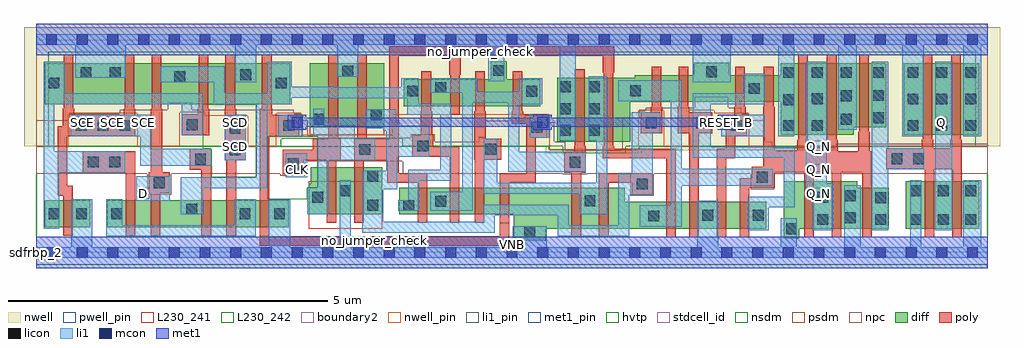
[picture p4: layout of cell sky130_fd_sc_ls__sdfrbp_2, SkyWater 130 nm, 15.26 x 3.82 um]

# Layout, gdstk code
import gdstk
lib = gdstk.Library(unit=1e-6, precision=1e-09)
def R(c, l, rs):  # rectangles x0, y0, x1, y1
    for r in rs: c.add(gdstk.rectangle(r[:2], r[2:], *l))
def A(c, l, x, y, w, h, nx, ny, dx, dy):  # array of equal rectangles
    R(c, l, [(x+i*dx, y+j*dy, x+i*dx+w, y+j*dy+h) for i in range(nx) for j in range(ny)])
def P(c, l, *ps):  # polygons
    for p in ps: c.add(gdstk.Polygon(p, *l))
nwell_pin = (64, 16)
nwell = (64, 20)
diff = (65, 20)
poly = (66, 20)
licon = (66, 44)
li1_pin = (67, 16)
li1 = (67, 20)
mcon = (67, 44)
met1_pin = (68, 16)
met1 = (68, 20)
hvtp = (78, 44)
stdcell_id = (81, 4)
nsdm = (93, 44)
psdm = (94, 20)
npc = (95, 20)
pwell_pin = (122, 16)
L230_241 = (230, 241)
L230_242 = (230, 242)
boundary2 = (236, 0)

sky130_fd_sc_ls__sdfrbp_ = lib.new_cell('sky130_fd_sc_ls__sdfrbp_2')
R(sky130_fd_sc_ls__sdfrbp_, nwell_pin, [(0,3.085,14.88,3.33)])
P(sky130_fd_sc_ls__sdfrbp_, nwell, [(15.07,3.52),(-0.19,3.52),(-0.19,1.66),(3.83,1.66),(3.83,1.78),(5.725,1.78),(5.725,1.66),(7.97,1.66),(7.97,1.555),(9.47,1.555),(9.47,1.595),(12.54,1.595),(12.54,1.66),(15.07,1.66)])
R(sky130_fd_sc_ls__sdfrbp_, diff, [(13.6,0.37,14.745,1.11), (0.135,0.395,0.845,0.815), (1.115,0.395,3.95,0.815), (13.565,1.84,14.745,2.96), (4.275,1.96,5.445,2.96), (0.135,2.32,3.975,2.96)])
P(sky130_fd_sc_ls__sdfrbp_, diff, [(13.33,1.01),(12.84,1.01),(12.84,1.11),(11.685,1.11),(11.685,0.225),(11.935,0.225),(11.935,0.37),(13.33,0.37)],
  [(5.41,1.335),(4.295,1.335),(4.295,1.075),(4.26,1.075),(4.26,0.595),(5.41,0.595)],
  [(7.88,2.705),(7.36,2.705),(7.36,2.99),(7.105,2.99),(7.105,2.705),(5.745,2.705),(5.745,2.285),(7.88,2.285)],
  [(11.415,0.79),(9.2,0.79),(9.2,1.015),(5.68,1.015),(5.68,0.595),(7.47,0.595),(7.47,0.18),(7.965,0.18),(7.965,0.375),(9.43,0.375),(9.43,0.37),(11.415,0.37)],
  [(13.295,2.96),(11.64,2.96),(11.64,2.775),(10.84,2.775),(10.84,2.97),(10.285,2.97),(10.285,2.775),(9.36,2.775),(9.36,2.735),(8.15,2.735),(8.15,1.735),(9.29,1.735),(9.29,2.355),(11.64,2.355),(11.64,1.84),(12.78,1.84),(12.78,1.96),(13.295,1.96)])
P(sky130_fd_sc_ls__sdfrbp_, poly, [(1.55,2.245),(1.535,2.245),(1.535,3.09),(1.385,3.09),(1.385,2.245),(1.37,2.245),(1.37,2.15),(0.595,2.15),(0.595,2.245),(0.58,2.245),(0.58,3.09),(0.43,3.09),(0.43,2.245),(0.415,2.245),(0.415,1.97),(0.335,1.97),(0.335,0.89),(0.42,0.89),(0.42,0.265),(0.57,0.265),(0.57,1.04),(0.485,1.04),(0.485,1.82),(1.55,1.82)],
  [(1.55,1.58),(0.725,1.58),(0.725,1.25),(1.4,1.25),(1.4,0.265),(1.55,0.265)],
  [(8.59,1.66),(8.575,1.66),(8.575,2.865),(8.425,2.865),(8.425,1.66),(8.41,1.66),(8.41,1.575),(8.26,1.575),(8.26,1.245),(8.37,1.245),(8.37,0.24),(8.52,0.24),(8.52,1.245),(8.59,1.245)],
  [(14.475,1.765),(14.46,1.765),(14.46,3.09),(14.31,3.09),(14.31,1.765),(14.295,1.765),(14.295,1.63),(14.025,1.63),(14.025,1.765),(14.01,1.765),(14.01,3.09),(13.86,3.09),(13.86,1.765),(13.845,1.765),(13.845,1.63),(13.295,1.63),(13.295,1.3),(13.895,1.3),(13.895,0.24),(14.045,0.24),(14.045,1.3),(14.325,1.3),(14.325,0.24),(14.475,0.24)],
  [(13.065,1.585),(13.035,1.585),(13.035,1.885),(13.02,1.885),(13.02,3.09),(12.87,3.09),(12.87,1.885),(12.855,1.885),(12.855,1.585),(12.53,1.585),(12.53,1.765),(12.515,1.765),(12.515,3.09),(12.365,3.09),(12.365,1.765),(12.35,1.765),(12.35,1.585),(12.08,1.585),(12.08,1.765),(12.065,1.765),(12.065,3.09),(11.915,3.09),(11.915,1.765),(11.9,1.765),(11.9,1.59),(11.545,1.59),(11.545,2.28),(11.53,2.28),(11.53,2.905),(11.38,2.905),(11.38,2.28),(11.365,2.28),(11.365,1.34),(11.19,1.34),(11.19,1.16),(11,1.16),(11,0.24),(11.15,0.24),(11.15,1.01),(11.545,1.01),(11.545,1.255),(12.01,1.255),(12.01,0.24),(12.16,0.24),(12.16,1.255),(12.44,1.255),(12.44,0.24),(12.59,0.24),(12.59,1.255),(12.915,1.255),(12.915,0.24),(13.065,0.24)],
  [(7.99,2.165),(7.615,2.165),(7.615,2.21),(7.6,2.21),(7.6,2.835),(7.45,2.835),(7.45,2.21),(7.435,2.21),(7.435,2.015),(7.66,2.015),(7.66,1.24),(7.245,1.24),(7.245,0.255),(3.645,0.255),(3.645,1.82),(4.115,1.82),(4.115,2.15),(3.695,2.15),(3.695,2.245),(3.68,2.245),(3.68,3.09),(3.53,3.09),(3.53,2.245),(3.495,2.245),(3.495,0.105),(7.395,0.105),(7.395,1.09),(7.81,1.09),(7.81,1.795),(7.99,1.795)],
  [(2.09,1.255),(1.97,1.255),(1.97,2.245),(1.955,2.245),(1.955,3.09),(1.805,3.09),(1.805,2.245),(1.79,2.245),(1.79,1.255),(1.76,1.255),(1.76,0.925),(1.79,0.925),(1.79,0.265),(1.94,0.265),(1.94,0.925),(2.09,0.925)],
  [(2.705,2.245),(2.69,2.245),(2.69,3.09),(2.54,3.09),(2.54,2.245),(2.525,2.245),(2.525,2.16),(2.275,2.16),(2.275,1.83),(2.705,1.83)],
  [(2.735,1.62),(2.405,1.62),(2.405,1.29),(2.585,1.29),(2.585,0.265),(2.735,0.265)],
  [(3.275,2.11),(3.125,2.11),(3.125,2.245),(3.11,2.245),(3.11,3.09),(2.96,3.09),(2.96,2.245),(2.945,2.245),(2.945,1.44),(2.975,1.44),(2.975,0.265),(3.125,0.265),(3.125,1.44),(3.275,1.44)],
  [(9.64,1.24),(8.8,1.24),(8.8,0.24),(8.95,0.24),(8.95,1.09),(9.31,1.09),(9.31,0.905),(9.64,0.905)],
  [(9.79,2.28),(9.775,2.28),(9.775,2.905),(9.625,2.905),(9.625,2.28),(9.61,2.28),(9.61,2.195),(9.45,2.195),(9.45,1.865),(9.79,1.865)],
  [(7.27,1.78),(7.03,1.78),(7.03,2.21),(7.015,2.21),(7.015,2.835),(6.865,2.835),(6.865,2.21),(6.85,2.21),(6.85,1.45),(6.855,1.45),(6.855,0.465),(7.005,0.465),(7.005,1.45),(7.27,1.45)],
  [(11.11,2.15),(11.095,2.15),(11.095,2.28),(11.08,2.28),(11.08,2.905),(10.93,2.905),(10.93,2.28),(10.915,2.28),(10.915,2.15),(10.78,2.15),(10.78,1.625),(10.64,1.625),(10.64,0.24),(10.79,0.24),(10.79,1.475),(10.93,1.475),(10.93,1.82),(11.11,1.82)],
  [(10,1.625),(9.04,1.625),(9.04,1.66),(9.025,1.66),(9.025,2.81),(9.04,2.81),(9.04,3.225),(5.52,3.225),(5.52,1.775),(5.17,1.775),(5.17,3.09),(5.02,3.09),(5.02,1.775),(4.975,1.775),(4.975,0.465),(5.125,0.465),(5.125,1.445),(5.49,1.445),(5.49,1.09),(5.965,1.09),(5.965,0.465),(6.115,0.465),(6.115,1.24),(5.67,1.24),(5.67,3.075),(6.46,3.075),(6.46,2.78),(6.475,2.78),(6.475,2.155),(6.625,2.155),(6.625,2.78),(6.64,2.78),(6.64,3.075),(8.86,3.075),(8.86,2.81),(8.875,2.81),(8.875,1.66),(8.86,1.66),(8.86,1.475),(9.85,1.475),(9.85,0.24),(10,0.24)],
  [(4.765,1.775),(4.72,1.775),(4.72,3.09),(4.57,3.09),(4.57,1.775),(4.325,1.775),(4.325,1.61),(3.855,1.61),(3.855,1.22),(4.185,1.22),(4.185,1.445),(4.545,1.445),(4.545,0.465),(4.695,0.465),(4.695,1.445),(4.765,1.445)],
  [(6.615,1.65),(6.21,1.65),(6.21,1.83),(6.19,1.83),(6.19,2.21),(6.175,2.21),(6.175,2.835),(6.025,2.835),(6.025,2.21),(6.01,2.21),(6.01,1.83),(5.88,1.83),(5.88,1.5),(6.465,1.5),(6.465,0.465),(6.615,0.465)],
  [(10.57,2.195),(10.21,2.195),(10.21,2.28),(10.195,2.28),(10.195,2.905),(10.045,2.905),(10.045,2.28),(10.03,2.28),(10.03,1.865),(10.21,1.865),(10.21,0.24),(10.36,0.24),(10.36,1.865),(10.57,1.865)])
A(sky130_fd_sc_ls__sdfrbp_, licon, 13.67, 0.43, 0.17, 0.17, 3, 2, 0.43, 0.45)
A(sky130_fd_sc_ls__sdfrbp_, licon, 8.19, 1.825, 0.17, 0.17, 1, 3, 0, 0.34)
A(sky130_fd_sc_ls__sdfrbp_, licon, 8.64, 1.825, 0.17, 0.17, 1, 3, 0, 0.34)
A(sky130_fd_sc_ls__sdfrbp_, licon, 0.62, 1.9, 0.17, 0.17, 3, 1, 0.34, 0)
A(sky130_fd_sc_ls__sdfrbp_, licon, 13.625, 1.9, 0.17, 0.17, 3, 3, 0.45, 0.415)
A(sky130_fd_sc_ls__sdfrbp_, licon, 11.68, 2.73, 0.17, 0.17, 3, 1, 0.45, 0)
R(sky130_fd_sc_ls__sdfrbp_, licon, [(7.63,0.24,7.8,0.41), (11.725,0.285,11.895,0.455), (12.215,0.43,12.385,0.6), (13.12,0.43,13.29,0.6), (12.645,0.46,12.815,0.63), (9.57,0.485,9.74,0.655), (10.415,0.495,10.585,0.665), (11.205,0.495,11.375,0.665), (0.195,0.52,0.365,0.69), (0.625,0.52,0.795,0.69), (1.175,0.52,1.345,0.69), (3.18,0.52,3.35,0.69), (3.72,0.52,3.89,0.69), (2.35,0.595,2.52,0.765), (5.74,0.65,5.91,0.82), (5.18,0.655,5.35,0.825), (6.24,0.715,6.41,0.885), (8.575,0.725,8.745,0.895), (13.12,0.77,13.29,0.94), (4.32,0.78,4.49,0.95), (12.215,0.78,12.385,0.95), (12.645,0.8,12.815,0.97), (4.75,0.88,4.92,1.05), (9.39,0.985,9.56,1.155), (1.84,1.005,2.01,1.175), (11.27,1.09,11.44,1.26), (5.18,1.105,5.35,1.275), (3.935,1.3,4.105,1.47), (8.34,1.325,8.51,1.495), (0.805,1.33,0.975,1.5), (1.145,1.33,1.315,1.5), (2.485,1.37,2.655,1.54), (13.375,1.38,13.545,1.55), (13.715,1.38,13.885,1.55), (3.025,1.52,3.195,1.69), (5.055,1.525,5.225,1.695), (7.02,1.53,7.19,1.7), (5.96,1.58,6.13,1.75), (3.025,1.86,3.195,2.03), (7.74,1.875,7.91,2.045), (3.865,1.9,4.035,2.07), (10.86,1.9,11.03,2.07), (11.68,1.9,11.85,2.07), (12.13,1.9,12.3,2.07), (2.355,1.91,2.525,2.08), (9.53,1.945,9.7,2.115), (10.32,1.945,10.49,2.115), (4.335,2,4.505,2.17), (12.58,2,12.75,2.17), (13.085,2.02,13.255,2.19), (5.235,2.07,5.405,2.24), (11.68,2.305,11.85,2.475), (12.13,2.32,12.3,2.49), (12.58,2.365,12.75,2.535), (13.085,2.37,13.255,2.54), (7.665,2.435,7.835,2.605), (5.8,2.44,5.97,2.61), (9.285,2.445,9.455,2.615), (11.145,2.48,11.315,2.65), (6.24,2.495,6.41,2.665), (0.195,2.565,0.365,2.735), (3.745,2.565,3.915,2.735), (2.16,2.66,2.33,2.83), (3.195,2.695,3.365,2.865), (0.695,2.73,0.865,2.9), (1.15,2.73,1.32,2.9), (13.085,2.73,13.255,2.9), (10.475,2.74,10.645,2.91), (4.785,2.75,4.955,2.92), (7.15,2.76,7.32,2.93)])
A(sky130_fd_sc_ls__sdfrbp_, li1_pin, 12.155, 0.84, 0.17, 0.17, 1, 3, 0, 0.37)
A(sky130_fd_sc_ls__sdfrbp_, li1_pin, 0.635, 1.95, 0.17, 0.17, 3, 1, 0.48, 0)
R(sky130_fd_sc_ls__sdfrbp_, li1_pin, [(1.595,0.84,1.765,1.01), (3.995,1.21,4.165,1.38), (3.035,1.58,3.205,1.75), (3.035,1.95,3.205,2.12), (14.075,1.95,14.245,2.12)])
R(sky130_fd_sc_ls__sdfrbp_, li1, [(14.055,0.35,14.325,2.98), (1.565,0.81,2.09,1.19), (3.905,1.18,4.235,1.55), (2.945,1.44,3.275,2.15), (7.72,1.795,8.02,2.15), (3.785,1.82,4.165,2.15), (10.715,1.82,11.395,2.15)])
P(sky130_fd_sc_ls__sdfrbp_, li1, [(2.605,2.49),(0.445,2.49),(0.445,2.98),(0.115,2.98),(0.115,0.375),(0.365,0.375),(0.365,1.25),(1.395,1.25),(1.395,1.58),(0.285,1.58),(0.285,2.32),(2.275,2.32),(2.275,1.83),(2.605,1.83)],
  [(2.735,1.62),(1.795,1.62),(1.795,2.15),(0.54,2.15),(0.54,1.82),(1.625,1.82),(1.625,1.36),(2.735,1.36)],
  [(3.43,0.835),(3.1,0.835),(3.1,0.425),(1.345,0.425),(1.345,0.835),(1.095,0.835),(1.095,0.255),(3.43,0.255)],
  [(14.88,3.415),(0,3.415),(0,3.245),(0.615,3.245),(0.615,2.73),(1.4,2.73),(1.4,3.245),(3.115,3.245),(3.115,2.66),(3.445,2.66),(3.445,3.245),(4.705,3.245),(4.705,2.75),(5.035,2.75),(5.035,3.245),(7.07,3.245),(7.07,2.68),(7.32,2.68),(7.32,3.245),(8.19,3.245),(8.19,1.745),(8.44,1.745),(8.44,3.245),(10.265,3.245),(10.265,2.66),(10.86,2.66),(10.86,3.245),(11.6,3.245),(11.6,1.82),(11.85,1.82),(11.85,3.245),(12.54,3.245),(12.54,1.92),(12.83,1.92),(12.83,3.245),(13.545,3.245),(13.545,1.82),(13.875,1.82),(13.875,3.245),(14.495,3.245),(14.495,1.82),(14.775,1.82),(14.775,3.245),(14.88,3.245)],
  [(11.86,1.65),(10.545,1.65),(10.545,2.32),(11.395,2.32),(11.395,2.795),(11.065,2.795),(11.065,2.49),(10.265,2.49),(10.265,1.48),(11.69,1.48),(11.69,0.875),(11.125,0.875),(11.125,0.35),(11.455,0.35),(11.455,0.705),(11.86,0.705)],
  [(5.305,1.775),(4.985,1.775),(4.985,1.99),(4.505,1.99),(4.505,2.25),(4.335,2.25),(4.335,1.82),(4.405,1.82),(4.405,1.01),(4.24,1.01),(4.24,0.595),(4.575,0.595),(4.575,1.445),(5.305,1.445)],
  [(12.465,1.085),(12.36,1.085),(12.36,2.98),(12.03,2.98),(12.03,0.915),(12.135,0.915),(12.135,0.35),(12.465,0.35)],
  [(13.885,1.63),(13.325,1.63),(13.325,2.98),(13.065,2.98),(13.065,0.35),(13.325,0.35),(13.325,1.3),(13.885,1.3)],
  [(6.49,2.325),(5.985,2.325),(5.985,2.725),(5.71,2.725),(5.71,2.58),(4.645,2.58),(4.645,2.59),(3.995,2.59),(3.995,2.98),(3.615,2.98),(3.615,2.49),(2.945,2.49),(2.945,2.91),(1.94,2.91),(1.94,2.66),(2.775,2.66),(2.775,2.32),(3.445,2.32),(3.445,1.175),(2.26,1.175),(2.26,0.595),(2.61,0.595),(2.61,1.005),(3.615,1.005),(3.615,2.32),(3.995,2.32),(3.995,2.42),(4.57,2.42),(4.57,2.41),(5.8,2.41),(5.8,2.155),(6.32,2.155),(6.32,1.29),(5.82,1.29),(5.82,0.82),(5.66,0.82),(5.66,0.65),(5.99,0.65),(5.99,1.12),(6.49,1.12)],
  [(8.59,1.575),(7.55,1.575),(7.55,2.32),(7.915,2.32),(7.915,2.725),(7.55,2.725),(7.55,2.51),(6.9,2.51),(6.9,2.725),(6.16,2.725),(6.16,2.495),(6.66,2.495),(6.66,0.95),(6.16,0.95),(6.16,0.65),(6.83,0.65),(6.83,2.34),(7.38,2.34),(7.38,1.26),(8.59,1.26)],
  [(8.93,2.755),(8.64,2.755),(8.64,1.745),(8.76,1.745),(8.76,1.09),(7.21,1.09),(7.21,1.78),(7,1.78),(7,0.92),(8.495,0.92),(8.495,0.595),(8.93,0.595)],
  [(9.755,2.195),(9.31,2.195),(9.31,1.235),(9.1,1.235),(9.1,0.425),(8.325,0.425),(8.325,0.75),(7,0.75),(7,0.48),(5.43,0.48),(5.43,0.99),(5.645,0.99),(5.645,1.5),(6.15,1.5),(6.15,1.985),(5.675,1.985),(5.675,2.03),(5.63,2.03),(5.63,2.24),(5.155,2.24),(5.155,1.945),(5.43,1.945),(5.43,1.9),(5.475,1.9),(5.475,1.275),(5.1,1.275),(5.1,0.31),(7.17,0.31),(7.17,0.58),(8.155,0.58),(8.155,0.255),(9.27,0.255),(9.27,0.905),(9.64,0.905),(9.64,1.865),(9.755,1.865)],
  [(14.88,0.085),(14.78,0.085),(14.78,1.13),(14.495,1.13),(14.495,0.085),(13.84,0.085),(13.84,1.13),(13.67,1.13),(13.67,0.085),(12.895,0.085),(12.895,1.05),(12.635,1.05),(12.635,0.085),(11.895,0.085),(11.895,0.535),(11.645,0.535),(11.645,0.085),(10.665,0.085),(10.665,0.81),(10.335,0.81),(10.335,0.085),(7.985,0.085),(7.985,0.41),(7.45,0.41),(7.45,0.085),(4.92,0.085),(4.92,1.13),(4.75,1.13),(4.75,0.085),(3.97,0.085),(3.97,0.835),(3.64,0.835),(3.64,0.085),(0.875,0.085),(0.875,0.835),(0.545,0.835),(0.545,0.085),(0,0.085),(0,-0.085),(14.88,-0.085)],
  [(11.52,1.31),(10.095,1.31),(10.095,2.695),(9.1,2.695),(9.1,2.365),(9.925,2.365),(9.925,0.735),(9.44,0.735),(9.44,0.405),(10.095,0.405),(10.095,1.045),(11.52,1.045)])
A(sky130_fd_sc_ls__sdfrbp_, mcon, 0.155, -0.085, 0.17, 0.17, 31, 2, 0.48, 3.33)
R(sky130_fd_sc_ls__sdfrbp_, mcon, [(3.995,1.95,4.165,2.12), (7.835,1.95,8.005,2.12), (10.715,1.95,10.885,2.12)])
R(sky130_fd_sc_ls__sdfrbp_, met1_pin, [(0,0,14.88,0.245), (10.715,1.95,10.885,2.12), (0,3.085,14.88,3.33)])
R(sky130_fd_sc_ls__sdfrbp_, met1, [(0,-0.245,14.88,0.245), (0,3.085,14.88,3.575)])
P(sky130_fd_sc_ls__sdfrbp_, met1, [(10.945,2.15),(10.655,2.15),(10.655,2.105),(8.065,2.105),(8.065,2.15),(7.775,2.15),(7.775,2.105),(4.225,2.105),(4.225,2.15),(3.935,2.15),(3.935,1.92),(4.225,1.92),(4.225,1.965),(7.775,1.965),(7.775,1.92),(8.065,1.92),(8.065,1.965),(10.655,1.965),(10.655,1.92),(10.945,1.92)])
P(sky130_fd_sc_ls__sdfrbp_, hvtp, [(14.69,3.14),(0.19,3.14),(0.19,1.66),(3.83,1.66),(3.83,1.78),(5.725,1.78),(5.725,1.66),(8.23,1.66),(8.23,1.555),(9.22,1.555),(9.22,1.66),(14.69,1.66)])
R(sky130_fd_sc_ls__sdfrbp_, stdcell_id, [(0,0,14.88,3.33)])
P(sky130_fd_sc_ls__sdfrbp_, nsdm, [(14.88,1.66),(9.42,1.66),(9.42,1.605),(8.02,1.605),(8.02,1.66),(0,1.66),(0,-0.19),(14.88,-0.19)])
P(sky130_fd_sc_ls__sdfrbp_, psdm, [(14.88,3.52),(0,3.52),(0,1.66),(0.51,1.66),(0.51,2.18),(1.58,2.18),(1.58,1.66),(2.245,1.66),(2.245,2.19),(2.635,2.19),(2.635,2.14),(3.305,2.14),(3.305,1.66),(3.755,1.66),(3.755,2.18),(4.145,2.18),(4.145,1.83),(5.575,1.83),(5.575,2.155),(8.02,2.155),(8.02,1.605),(9.42,1.605),(9.42,2.225),(9.81,2.225),(9.81,1.66),(10.21,1.66),(10.21,2.225),(10.6,2.225),(10.6,2.18),(11.14,2.18),(11.14,1.66),(11.52,1.66),(11.52,1.645),(12.49,1.645),(12.49,1.66),(14.88,1.66)])
P(sky130_fd_sc_ls__sdfrbp_, npc, [(14.88,1.7),(12.5,1.7),(12.5,1.635),(11.51,1.635),(11.51,1.73),(11.395,1.73),(11.395,2.065),(11.13,2.065),(11.13,2.17),(11.025,2.17),(11.025,2.265),(10.825,2.265),(10.825,2.435),(10.3,2.435),(10.3,2.265),(9.535,2.265),(9.535,2.215),(9.43,2.215),(9.43,2.11),(9.165,2.11),(9.165,1.595),(8.275,1.595),(8.275,1.735),(8.1,1.735),(8.1,2.04),(8.01,2.04),(8.01,2.145),(7.64,2.145),(7.64,2.06),(7.025,2.06),(7.025,1.8),(6.92,1.8),(6.92,1.73),(6.23,1.73),(6.23,1.85),(5.86,1.85),(5.86,1.795),(4.4,1.795),(4.4,1.825),(4.245,1.825),(4.245,2.065),(4.135,2.065),(4.135,2.17),(4.03,2.17),(4.03,2.23),(2.435,2.23),(2.435,2.34),(2.06,2.34),(2.06,2.23),(1.305,2.23),(1.305,2.17),(0.52,2.17),(0.52,2.065),(0,2.065),(0,1.23),(1.74,1.23),(1.74,0.905),(2.11,0.905),(2.11,1.23),(3.82,1.23),(3.82,1.2),(4.205,1.2),(4.205,1.425),(5.73,1.425),(5.73,1.23),(8.24,1.23),(8.24,1.225),(8.61,1.225),(8.61,1.23),(9.29,1.23),(9.29,0.885),(9.66,0.885),(9.66,1.23),(11.17,1.23),(11.17,0.99),(11.54,0.99),(11.54,1.23),(14.88,1.23)])
R(sky130_fd_sc_ls__sdfrbp_, pwell_pin, [(0,0,14.88,0.245)])
R(sky130_fd_sc_ls__sdfrbp_, L230_241, [(4.26,0.37,5.41,1.11), (3.905,1.18,4.235,1.55), (2.945,1.44,3.275,2.15), (4.275,1.84,5.445,2.96)])
P(sky130_fd_sc_ls__sdfrbp_, L230_242, [(7.395,0.465),(7.245,0.465),(7.245,0.255),(3.645,0.255),(3.645,0.265),(3.495,0.265),(3.495,0.105),(7.395,0.105)],
  [(3.445,2.32),(2.605,2.32),(2.605,1.62),(2.735,1.62),(2.735,1.175),(3.445,1.175)],
  [(4.405,1.82),(3.615,1.82),(3.615,0.835),(4.24,0.835),(4.24,1.01),(4.405,1.01)])
R(sky130_fd_sc_ls__sdfrbp_, boundary2, [(0,0,14.88,3.33)])
sky130_fd_sc_ls__sdfrbp_.add(gdstk.Label('sdfrbp_2', (0,0), layer=83, texttype=44))
sky130_fd_sc_ls__sdfrbp_.add(gdstk.Label('no_jumper_check', (6.955,3.15), layer=83, texttype=44))
sky130_fd_sc_ls__sdfrbp_.add(gdstk.Label('no_jumper_check', (5.29,0.18), layer=83, texttype=44))
sky130_fd_sc_ls__sdfrbp_.add(gdstk.Label('VNB', (7.44,0.123), layer=64, texttype=59))
sky130_fd_sc_ls__sdfrbp_.add(gdstk.Label('VPB', (7.44,3.208), layer=64, texttype=5))
sky130_fd_sc_ls__sdfrbp_.add(gdstk.Label('RESET_B', (10.8,2.035), layer=68, texttype=5))
sky130_fd_sc_ls__sdfrbp_.add(gdstk.Label('VPWR', (7.44,3.208), layer=68, texttype=5))
sky130_fd_sc_ls__sdfrbp_.add(gdstk.Label('VGND', (7.44,0.123), layer=68, texttype=5))
sky130_fd_sc_ls__sdfrbp_.add(gdstk.Label('D', (1.68,0.925), layer=67, texttype=5))
sky130_fd_sc_ls__sdfrbp_.add(gdstk.Label('CLK', (4.08,1.295), layer=67, texttype=5))
sky130_fd_sc_ls__sdfrbp_.add(gdstk.Label('SCE', (0.72,2.035), layer=67, texttype=5))
sky130_fd_sc_ls__sdfrbp_.add(gdstk.Label('SCE', (1.2,2.035), layer=67, texttype=5))
sky130_fd_sc_ls__sdfrbp_.add(gdstk.Label('SCE', (1.68,2.035), layer=67, texttype=5))
sky130_fd_sc_ls__sdfrbp_.add(gdstk.Label('SCD', (3.12,1.665), layer=67, texttype=5))
sky130_fd_sc_ls__sdfrbp_.add(gdstk.Label('SCD', (3.12,2.035), layer=67, texttype=5))
sky130_fd_sc_ls__sdfrbp_.add(gdstk.Label('Q', (14.16,2.035), layer=67, texttype=5))
sky130_fd_sc_ls__sdfrbp_.add(gdstk.Label('Q_N', (12.24,0.925), layer=67, texttype=5))
sky130_fd_sc_ls__sdfrbp_.add(gdstk.Label('Q_N', (12.24,1.295), layer=67, texttype=5))
sky130_fd_sc_ls__sdfrbp_.add(gdstk.Label('Q_N', (12.24,1.665), layer=67, texttype=5))

lib.write_gds('sky130_fd_sc_ls__sdfrbp_2.gds')
